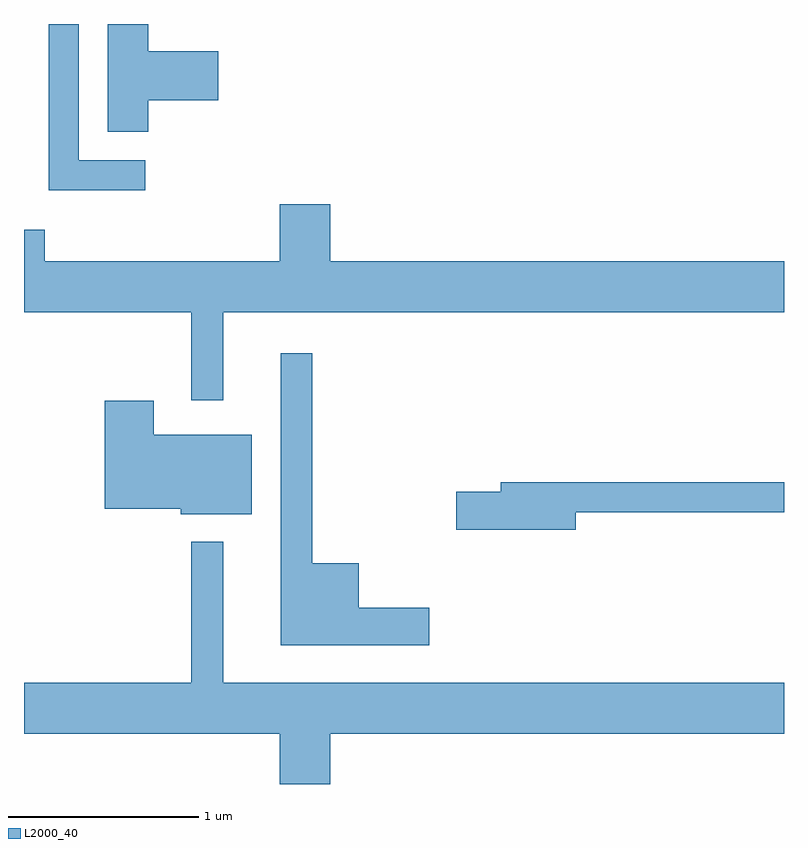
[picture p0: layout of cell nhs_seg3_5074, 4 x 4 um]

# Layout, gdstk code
import gdstk
lib = gdstk.Library(unit=1e-6, precision=1e-09)
def P(c, l, *ps):  # polygons
    for p in ps: c.add(gdstk.Polygon(p, *l))
L2000_40 = (2000, 40)

nhs_seg3_5074 = lib.new_cell('nhs_seg3_5074')
P(nhs_seg3_5074, L2000_40, [(334.248,1211.174),(333.899,1211.174),(333.899,1211.892),(333.741,1211.892),(333.741,1211.016),(334.248,1211.016)],
  [(334.264,1211.491),(334.634,1211.491),(334.634,1211.749),(334.264,1211.749),(334.264,1211.892),(334.051,1211.892),(334.051,1211.326),(334.264,1211.326)],
  [(334.659,1210.376),(337.611,1210.376),(337.611,1210.644),(335.224,1210.644),(335.224,1210.944),(334.956,1210.944),(334.956,1210.644),(333.719,1210.644),(333.719,1210.809),(333.611,1210.809),(333.611,1210.376),(334.491,1210.376),(334.491,1209.913),(334.659,1209.913)],
  [(335.744,1208.819),(335.374,1208.819),(335.374,1209.054),(335.129,1209.054),(335.129,1210.158),(334.961,1210.158),(334.961,1208.621),(335.744,1208.621)],
  [(334.809,1209.729),(334.294,1209.729),(334.294,1209.909),(334.036,1209.909),(334.036,1209.341),(334.436,1209.341),(334.436,1209.311),(334.809,1209.311)],
  [(336.514,1209.321),(337.611,1209.321),(337.611,1209.479),(336.121,1209.479),(336.121,1209.429),(335.886,1209.429),(335.886,1209.231),(336.514,1209.231)],
  [(335.224,1208.156),(337.611,1208.156),(337.611,1208.424),(334.659,1208.424),(334.659,1209.168),(334.491,1209.168),(334.491,1208.424),(333.611,1208.424),(333.611,1208.156),(334.956,1208.156),(334.956,1207.892),(335.224,1207.892)])

lib.write_gds('nhs_seg3_5074.gds')
